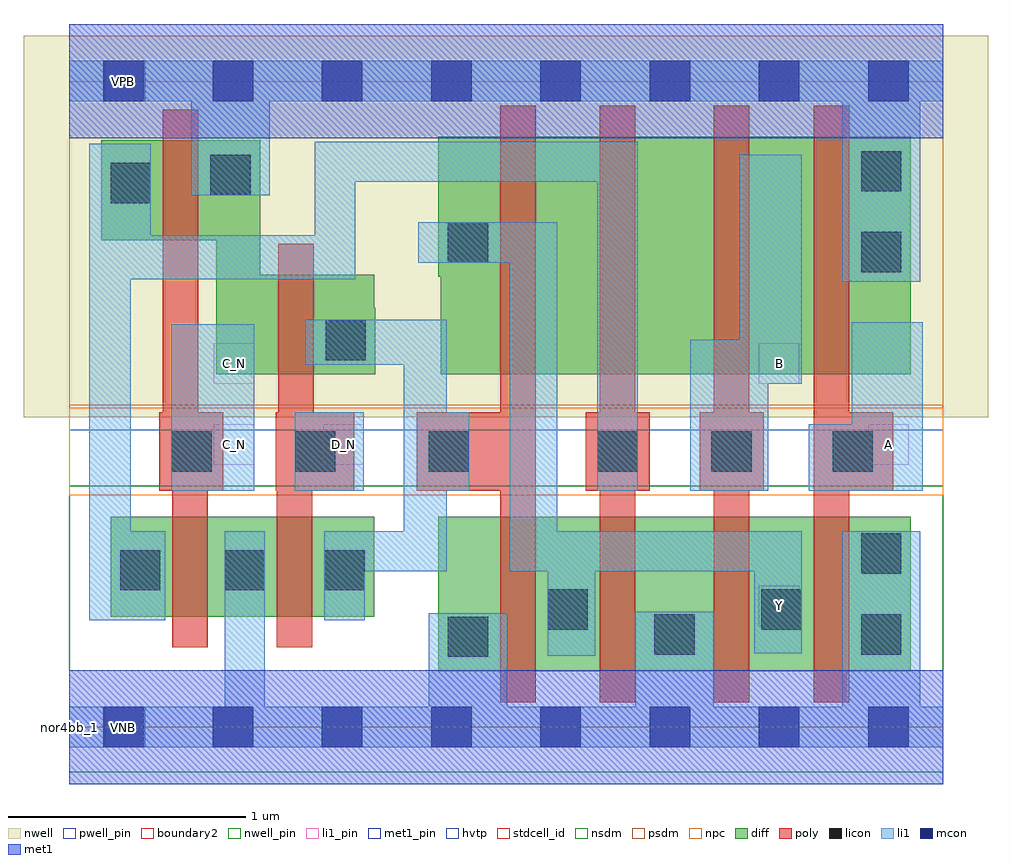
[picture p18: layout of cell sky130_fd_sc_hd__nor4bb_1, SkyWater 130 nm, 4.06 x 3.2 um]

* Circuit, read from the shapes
.subckt sky130_fd_sc_hd__nor4bb_1 A B C_N D_N VGND VNB VPB VPWR Y
XM1 VGND C_N n1 VNB sky130_fd_pr__nfet_01v8 w=0.42 l=0.15
XM2 n2 D_N VGND VNB sky130_fd_pr__nfet_01v8 w=0.42 l=0.15
XM3 Y n2 VGND VNB sky130_fd_pr__nfet_01v8 w=0.65 l=0.15
XM4 VGND n1 Y VNB sky130_fd_pr__nfet_01v8 w=0.65 l=0.15
XM5 Y B VGND VNB sky130_fd_pr__nfet_01v8 w=0.65 l=0.15
XM6 VGND A Y VNB sky130_fd_pr__nfet_01v8 w=0.65 l=0.15
XM7 VPWR C_N n1 VPB sky130_fd_pr__pfet_01v8_hvt w=0.42 l=0.15
XM8 n2 D_N VPWR VPB sky130_fd_pr__pfet_01v8_hvt w=0.42 l=0.15
XM9 n3 n2 Y VPB sky130_fd_pr__pfet_01v8_hvt w=1 l=0.15
XM10 n4 n1 n3 VPB sky130_fd_pr__pfet_01v8_hvt w=1 l=0.15
XM11 n5 B n4 VPB sky130_fd_pr__pfet_01v8_hvt w=1 l=0.15
XM12 VPWR A n5 VPB sky130_fd_pr__pfet_01v8_hvt w=1 l=0.15
.ends

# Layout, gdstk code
import gdstk
lib = gdstk.Library(unit=1e-6, precision=1e-09)
def R(c, l, rs):  # rectangles x0, y0, x1, y1
    for r in rs: c.add(gdstk.rectangle(r[:2], r[2:], *l))
def A(c, l, x, y, w, h, nx, ny, dx, dy):  # array of equal rectangles
    R(c, l, [(x+i*dx, y+j*dy, x+i*dx+w, y+j*dy+h) for i in range(nx) for j in range(ny)])
def P(c, l, *ps):  # polygons
    for p in ps: c.add(gdstk.Polygon(p, *l))
nwell_pin = (64, 16)
nwell = (64, 20)
diff = (65, 20)
poly = (66, 20)
licon = (66, 44)
li1_pin = (67, 16)
li1 = (67, 20)
mcon = (67, 44)
met1_pin = (68, 16)
met1 = (68, 20)
hvtp = (78, 44)
stdcell_id = (81, 4)
nsdm = (93, 44)
psdm = (94, 20)
npc = (95, 20)
pwell_pin = (122, 16)
boundary2 = (236, 0)

sky130_fd_sc_hd__nor4bb_ = lib.new_cell('sky130_fd_sc_hd__nor4bb_1')
R(sky130_fd_sc_hd__nor4bb_, nwell_pin, [(0.15,2.635,0.32,2.805)])
R(sky130_fd_sc_hd__nor4bb_, nwell, [(-0.19,1.305,3.87,2.91)])
R(sky130_fd_sc_hd__nor4bb_, diff, [(1.555,0.235,3.545,0.885), (0.175,0.465,1.285,0.885)])
P(sky130_fd_sc_hd__nor4bb_, diff, [(3.545,2.485),(1.555,2.485),(1.555,1.895),(1.565,1.895),(1.565,1.485),(3.545,1.485)],
  [(1.29,1.765),(1.285,1.765),(1.285,1.905),(0.805,1.905),(0.805,2.47),(0.135,2.47),(0.135,2.05),(0.62,2.05),(0.62,1.485),(1.29,1.485)])
P(sky130_fd_sc_hd__nor4bb_, poly, [(0.65,1.325),(0.545,1.325),(0.545,2.6),(0.395,2.6),(0.395,1.325),(0.38,1.325),(0.38,0.995),(0.435,0.995),(0.435,0.335),(0.585,0.335),(0.585,0.995),(0.65,0.995)],
  [(1.2,1.325),(1.03,1.325),(1.03,2.035),(0.88,2.035),(0.88,1.325),(0.87,1.325),(0.87,0.995),(0.875,0.995),(0.875,0.335),(1.025,0.335),(1.025,0.995),(1.2,0.995)],
  [(1.965,2.615),(1.815,2.615),(1.815,1.325),(1.465,1.325),(1.465,0.995),(1.815,0.995),(1.815,0.105),(1.965,0.105)],
  [(2.445,1.325),(2.385,1.325),(2.385,2.615),(2.235,2.615),(2.235,1.325),(2.175,1.325),(2.175,0.995),(2.235,0.995),(2.235,0.105),(2.385,0.105),(2.385,0.995),(2.445,0.995)],
  [(2.925,1.325),(2.865,1.325),(2.865,2.615),(2.715,2.615),(2.715,1.325),(2.655,1.325),(2.655,0.995),(2.715,0.995),(2.715,0.105),(2.865,0.105),(2.865,0.995),(2.925,0.995)],
  [(3.47,1.325),(3.285,1.325),(3.285,2.615),(3.135,2.615),(3.135,0.105),(3.285,0.105),(3.285,0.995),(3.47,0.995)])
R(sky130_fd_sc_hd__nor4bb_, licon, [(1.595,0.295,1.765,0.465), (2.465,0.305,2.635,0.475), (3.335,0.305,3.505,0.475), (2.015,0.41,2.185,0.58), (2.915,0.41,3.085,0.58), (0.215,0.575,0.385,0.745), (0.655,0.575,0.825,0.745), (1.075,0.575,1.245,0.745), (3.335,0.645,3.505,0.815), (0.43,1.075,0.6,1.245), (0.95,1.075,1.12,1.245), (1.515,1.075,1.685,1.245), (2.225,1.075,2.395,1.245), (2.705,1.075,2.875,1.245), (3.215,1.075,3.385,1.245), (1.08,1.545,1.25,1.715), (3.335,1.915,3.505,2.085), (1.595,1.955,1.765,2.125), (0.175,2.205,0.345,2.375), (0.595,2.24,0.765,2.41), (3.335,2.255,3.505,2.425)])
R(sky130_fd_sc_hd__nor4bb_, li1_pin, [(2.905,0.425,3.075,0.595), (0.61,1.105,0.78,1.275), (1.07,1.105,1.24,1.275), (3.365,1.105,3.535,1.275), (0.61,1.445,0.78,1.615), (2.905,1.445,3.075,1.615)])
R(sky130_fd_sc_hd__nor4bb_, li1, [(0.43,0.995,0.78,1.695), (0.95,0.995,1.24,1.325)])
P(sky130_fd_sc_hd__nor4bb_, li1, [(3.68,0.085),(3.585,0.085),(3.585,0.825),(3.255,0.825),(3.255,0.085),(2.715,0.085),(2.715,0.485),(2.385,0.485),(2.385,0.085),(1.845,0.085),(1.845,0.48),(1.515,0.48),(1.515,0.085),(0.825,0.085),(0.825,0.825),(0.655,0.825),(0.655,0.085),(0,0.085),(0,-0.085),(3.68,-0.085)],
  [(3.68,2.805),(0,2.805),(0,2.635),(0.515,2.635),(0.515,2.24),(0.845,2.24),(0.845,2.635),(3.255,2.635),(3.255,1.875),(3.585,1.875),(3.585,2.635),(3.68,2.635)],
  [(3.085,0.825),(2.055,0.825),(2.055,2.125),(1.47,2.125),(1.47,1.955),(1.855,1.955),(1.855,0.655),(2.015,0.655),(2.015,0.3),(2.215,0.3),(2.215,0.655),(2.885,0.655),(2.885,0.31),(3.085,0.31)],
  [(3.085,2.41),(2.825,2.41),(2.825,1.63),(2.615,1.63),(2.615,0.995),(2.945,0.995),(2.945,1.445),(3.085,1.445)],
  [(3.595,1.705),(3.295,1.705),(3.295,1.275),(3.115,1.275),(3.115,0.995),(3.595,0.995)],
  [(1.685,1.325),(1.59,1.325),(1.59,1.715),(0.995,1.715),(0.995,1.525),(1.41,1.525),(1.41,0.825),(1.075,0.825),(1.075,0.45),(1.245,0.45),(1.245,0.655),(1.59,0.655),(1.59,0.995),(1.685,0.995)],
  [(2.395,2.465),(1.035,2.465),(1.035,2.07),(0.345,2.07),(0.345,2.455),(0.085,2.455),(0.085,0.45),(0.405,0.45),(0.405,0.825),(0.26,0.825),(0.26,1.885),(1.205,1.885),(1.205,2.295),(2.225,2.295),(2.225,0.995),(2.395,0.995)])
A(sky130_fd_sc_hd__nor4bb_, mcon, 0.145, -0.085, 0.17, 0.17, 8, 2, 0.46, 2.72)
R(sky130_fd_sc_hd__nor4bb_, met1_pin, [(0.15,-0.085,0.32,0.085), (0.15,2.635,0.32,2.805)])
R(sky130_fd_sc_hd__nor4bb_, hvtp, [(0,1.25,3.68,2.72)])
R(sky130_fd_sc_hd__nor4bb_, stdcell_id, [(0,0,3.68,2.72)])
R(sky130_fd_sc_hd__nor4bb_, nsdm, [(0,-0.19,3.68,1.015)])
R(sky130_fd_sc_hd__nor4bb_, psdm, [(0,1.355,3.68,2.91)])
R(sky130_fd_sc_hd__nor4bb_, npc, [(0,0.975,3.68,1.345)])
R(sky130_fd_sc_hd__nor4bb_, pwell_pin, [(0.15,-0.085,0.32,0.085)])
R(sky130_fd_sc_hd__nor4bb_, boundary2, [(0,0,3.68,2.72)])
sky130_fd_sc_hd__nor4bb_.add(gdstk.FlexPath([(0,2.72),(3.68,2.72)], 0.48, ends="flush", simple_path=True, layer=68, datatype=20))  # met1
sky130_fd_sc_hd__nor4bb_.add(gdstk.FlexPath([(0,0),(3.68,0)], 0.48, ends="flush", simple_path=True, layer=68, datatype=20))  # met1
sky130_fd_sc_hd__nor4bb_.add(gdstk.Label('A', (3.45,1.19), layer=67, texttype=5))
sky130_fd_sc_hd__nor4bb_.add(gdstk.Label('C_N', (0.695,1.53), layer=67, texttype=5))
sky130_fd_sc_hd__nor4bb_.add(gdstk.Label('C_N', (0.695,1.19), layer=67, texttype=5))
sky130_fd_sc_hd__nor4bb_.add(gdstk.Label('D_N', (1.155,1.19), layer=67, texttype=5))
sky130_fd_sc_hd__nor4bb_.add(gdstk.Label('B', (2.99,1.53), layer=67, texttype=5))
sky130_fd_sc_hd__nor4bb_.add(gdstk.Label('Y', (2.99,0.51), layer=67, texttype=5))
sky130_fd_sc_hd__nor4bb_.add(gdstk.Label('VNB', (0.23,0), layer=64, texttype=59))
sky130_fd_sc_hd__nor4bb_.add(gdstk.Label('VPB', (0.23,2.72), layer=64, texttype=5))
sky130_fd_sc_hd__nor4bb_.add(gdstk.Label('VGND', (0.23,0), layer=68, texttype=5))
sky130_fd_sc_hd__nor4bb_.add(gdstk.Label('VPWR', (0.23,2.72), layer=68, texttype=5))
sky130_fd_sc_hd__nor4bb_.add(gdstk.Label('nor4bb_1', (0,0), layer=83, texttype=44))

lib.write_gds('sky130_fd_sc_hd__nor4bb_1.gds')
